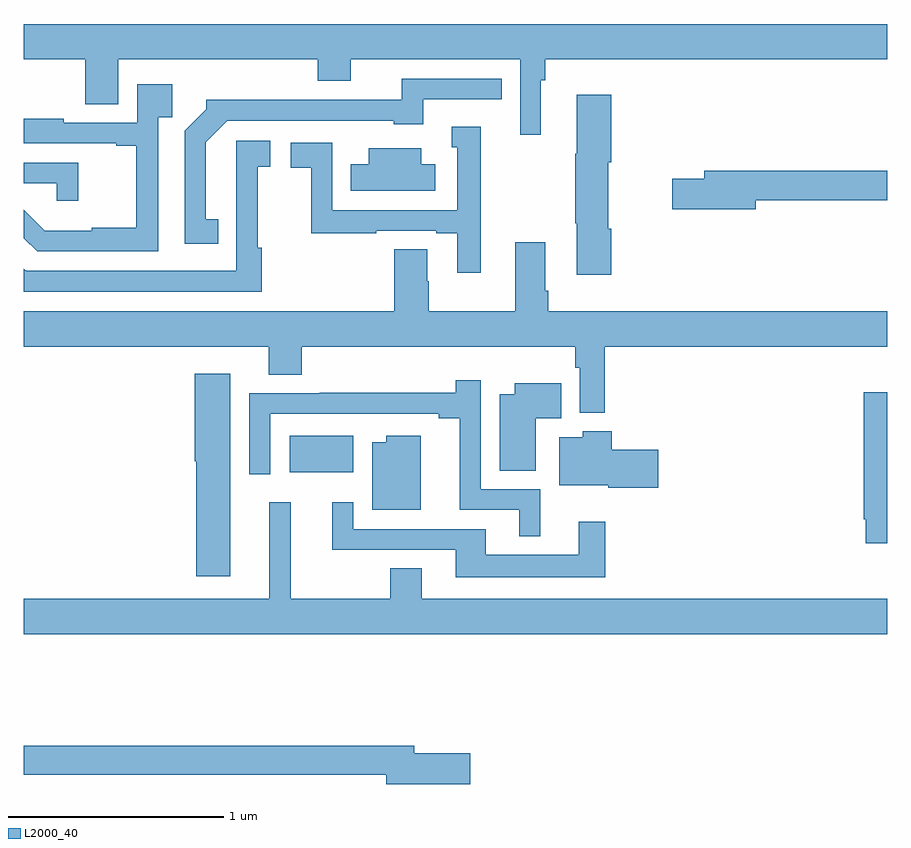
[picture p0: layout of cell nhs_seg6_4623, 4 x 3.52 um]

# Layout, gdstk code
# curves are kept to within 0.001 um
import gdstk
lib = gdstk.Library(unit=1e-6, precision=1e-09)
def R(c, l, rs):  # rectangles x0, y0, x1, y1
    for r in rs: c.add(gdstk.rectangle(r[:2], r[2:], *l))
def P(c, l, *ps):  # polygons
    for p in ps: c.add(gdstk.Polygon(p, *l))
L2000_40 = (2000, 40)

nhs_seg6_4623 = lib.new_cell('nhs_seg6_4623')
R(nhs_seg6_4623, L2000_40, [(384.233,973.394,384.526,973.564)])
P(nhs_seg6_4623, L2000_40, [(385.396,975.212),(385.415,975.212),(385.415,975.308),(387,975.308),(387,975.472),(383,975.472),(383,975.308),(383.285,975.308),(383.285,975.1),(383.437,975.1),(383.437,975.308),(384.362,975.308),(384.362,975.209),(384.514,975.209),(384.514,975.308),(385.299,975.308),(385.299,974.958),(385.396,974.958)],
  [(383.9,974.567),(383.842,974.567),(383.842,974.923),(383.943,975.024),(384.714,975.024),(384.714,975.008),(384.85,975.008),(384.85,975.123),(385.214,975.123),(385.214,975.219),(384.751,975.219),(384.751,975.12),(384.278,975.12),(384.278,975.122),(383.844,975.122),(383.844,975.077),(383.745,974.978),(383.745,974.454),(383.9,974.454)],
  [(383.622,975.041),(383.687,975.041),(383.687,975.193),(383.526,975.193),(383.526,975.015),(383.185,975.015),(383.185,975.034),(383,975.034),(383,974.919),(383.429,974.919),(383.429,974.907),(383.521,974.907),(383.521,974.527),(383.315,974.527),(383.315,974.515),(383.096,974.515),(383,974.611),(383,974.479),(383.061,974.418),(383.622,974.418)],
  [(385.721,974.522),(385.708,974.522),(385.708,974.832),(385.721,974.832),(385.721,975.145),(385.562,975.145),(385.562,974.87),(385.555,974.87),(385.555,974.548),(385.562,974.548),(385.562,974.31),(385.721,974.31)],
  [(385.117,974.995),(384.983,974.995),(384.983,974.901),(385.008,974.901),(385.008,974.61),(384.429,974.61),(384.429,974.922),(384.237,974.922),(384.237,974.806),(384.331,974.806),(384.331,974.502),(384.632,974.502),(384.632,974.514),(384.911,974.514),(384.911,974.502),(385.007,974.502),(385.007,974.319),(385.117,974.319)],
  [(384.101,974.435),(384.084,974.435),(384.084,974.811),(384.142,974.811),(384.142,974.932),(383.984,974.932),(383.985,974.328),(383.01,974.328),(383,974.338),(383,974.232),(384.101,974.232)],
  [(384.907,974.821),(384.841,974.821),(384.841,974.896),(384.599,974.896),(384.599,974.821),(384.514,974.821),(384.514,974.699),(384.907,974.699)],
  [(383.252,974.829),(383,974.829),(383,974.733),(383.151,974.733),(383.151,974.652),(383.252,974.652)],
  [(386.392,974.656),(387,974.656),(387,974.792),(386.153,974.792),(386.153,974.756),(386.004,974.756),(386.004,974.614),(386.392,974.614)],
  [(385.691,973.976),(387,973.976),(387,974.14),(385.43,974.14),(385.43,974.236),(385.417,974.236),(385.417,974.461),(385.277,974.461),(385.277,974.14),(384.876,974.14),(384.876,974.279),(384.868,974.279),(384.868,974.429),(384.716,974.429),(384.716,974.14),(383,974.14),(383,973.976),(384.134,973.976),(384.134,973.846),(384.287,973.846),(384.287,973.976),(385.555,973.976),(385.555,973.88),(385.575,973.88),(385.575,973.67),(385.691,973.67)],
  [(383.956,973.852),(383.792,973.852),(383.792,973.446),(383.798,973.446),(383.798,972.912),(383.956,972.912)],
  [(385.393,973.317),(385.116,973.317),(385.116,973.822),(385,973.822),(385,973.763),(384.37,973.763),(384.37,973.761),(384.045,973.761),(384.045,973.386),(384.141,973.386),(384.141,973.665),(384.923,973.665),(384.923,973.645),(385.019,973.645),(385.019,973.221),(385.295,973.221),(385.295,973.097),(385.393,973.097)],
  [(385.372,973.646),(385.49,973.646),(385.49,973.807),(385.274,973.807),(385.274,973.756),(385.205,973.756),(385.205,973.402),(385.372,973.402)],
  [(387,973.765),(386.893,973.765),(386.893,973.177),(386.901,973.177),(386.901,973.065),(387,973.065)],
  [(385.939,973.5),(385.724,973.5),(385.724,973.585),(385.59,973.585),(385.59,973.558),(385.481,973.558),(385.481,973.334),(385.707,973.334),(385.707,973.322),(385.939,973.322)],
  [(384.838,973.564),(384.68,973.564),(384.68,973.534),(384.614,973.534),(384.614,973.22),(384.838,973.22)],
  [(387,972.808),(384.844,972.808),(384.844,972.95),(384.697,972.95),(384.697,972.808),(384.236,972.808),(384.236,973.255),(384.137,973.255),(384.137,972.808),(383,972.808),(383,972.644),(387,972.644)],
  [(385.693,973.165),(385.571,973.165),(385.571,973.012),(385.141,973.012),(385.141,973.131),(384.525,973.131),(384.525,973.255),(384.428,973.255),(384.428,973.035),(385.001,973.035),(385.001,972.908),(385.693,972.908)],
  [(385.069,972.092),(384.808,972.092),(384.808,972.128),(383,972.128),(383,971.992),(384.68,971.992),(384.68,971.95),(385.069,971.95)])

lib.write_gds('nhs_seg6_4623.gds')
